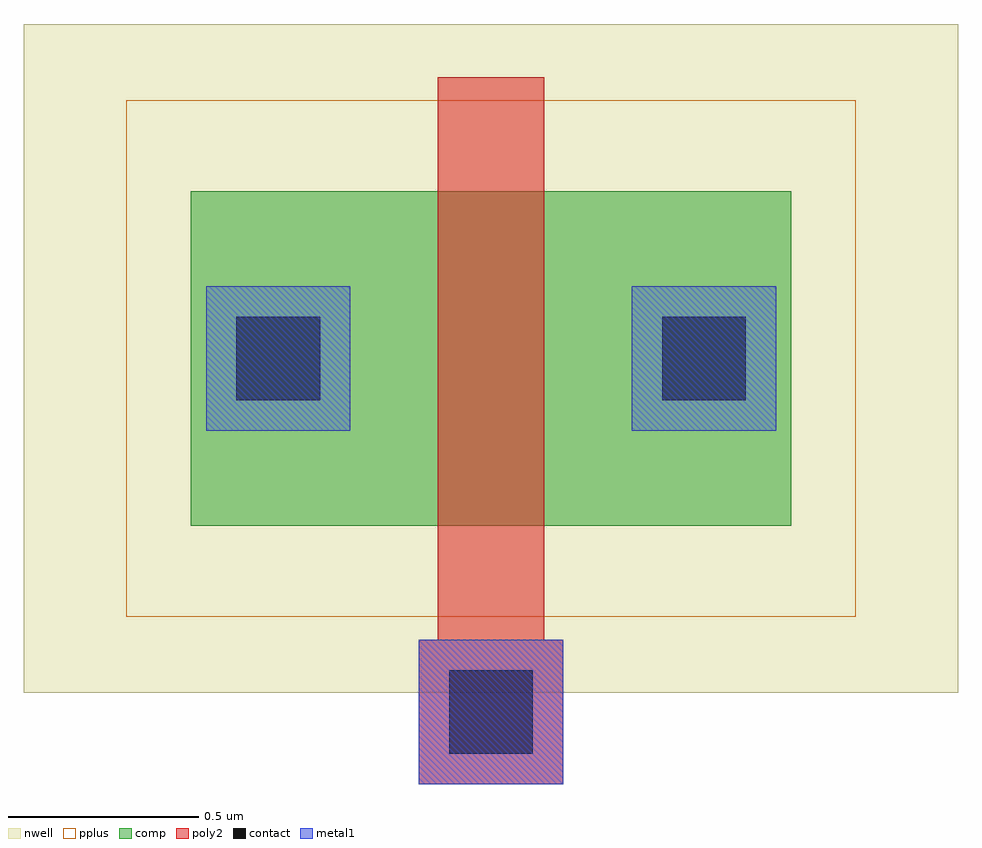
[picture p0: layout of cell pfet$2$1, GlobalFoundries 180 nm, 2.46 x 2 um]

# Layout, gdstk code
import gdstk
lib = gdstk.Library(unit=1e-6, precision=5e-09)
def R(c, l, rs):  # rectangles x0, y0, x1, y1
    for r in rs: c.add(gdstk.rectangle(r[:2], r[2:], *l))
nwell = (21, 0)
comp = (22, 0)
poly2 = (30, 0)
pplus = (31, 0)
contact = (33, 0)
metal1 = (34, 0)

pfet_2_1 = lib.new_cell('pfet$2$1')
R(pfet_2_1, nwell, [(-0.9,-0.44,1.56,1.32)])
R(pfet_2_1, comp, [(-0.46,0,0,0.88), (0,0,0.66,0.88), (0.66,0,1.12,0.88)])
R(pfet_2_1, poly2, [(0.14,-0.68,0.52,-0.3), (0.19,-0.3,0.47,1.18)])
R(pfet_2_1, pplus, [(-0.63,-0.24,1.29,1.12)])
R(pfet_2_1, contact, [(0.22,-0.6,0.44,-0.38), (-0.34,0.33,-0.12,0.55), (0.78,0.33,1,0.55)])
R(pfet_2_1, metal1, [(0.14,-0.68,0.52,-0.3), (-0.42,0.25,-0.04,0.63), (0.7,0.25,1.08,0.63)])

lib.write_gds('pfet_2_1.gds')
